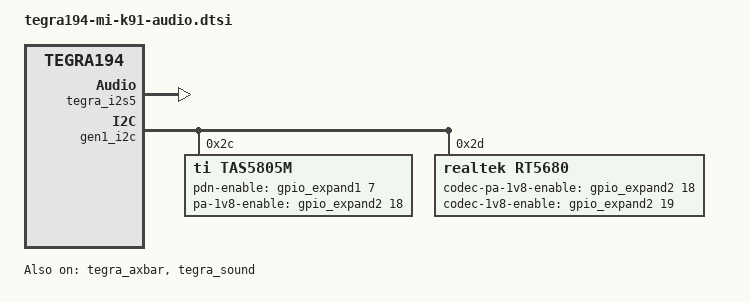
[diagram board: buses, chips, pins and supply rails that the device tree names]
/*
 *
 * Copyright (c) 2021 Beijing Xiaomi Mobile Software Co., Ltd. All rights reserved.
 *
 * This program is free software; you can redistribute it and/or modify
 * it under the terms of the GNU General Public License as published by
 * the Free Software Foundation; version 2 of the License.
 *
 * This program is distributed in the hope that it will be useful, but WITHOUT
 * ANY WARRANTY; without even the implied warranty of MERCHANTABILITY or
 * FITNESS FOR A PARTICULAR PURPOSE.  See the GNU General Public License for
 * more details.
 */

&tegra_axbar {
	status = "okay";
};
&tegra_i2s5 {
	status = "okay";
};
&tegra_sound {
	status = "okay";
	nvidia,audio-routing =
			"x Headphone",          "x OUT",
			"x IN",                 "x Mic",
			"y Headphone",          "y OUT",
			"y IN",                 "y Mic",
			"z Headphone",          "z OUT",
			"z IN",                 "z Mic",
			"m Headphone",          "m OUT",
			"m IN",                 "m Mic",
			"n Headphone",          "n OUT",
			"n IN",                 "n Mic",
			"o Headphone",          "o OUT",
			"o IN",                 "o Mic",
			"a IN",                 "a Mic",
			"b IN",                 "b Mic",
			"c IN",                 "c Mic",
			"d IN",                 "d Mic",
			"d1 Headphone",         "d1 OUT",
			"d2 Headphone",         "d2 OUT",
			"h1 DMIC L1",		"h1 Int DMIC",
			"h1 DMIC R1",		"h1 Int DMIC",
			"h1 DMIC L2",		"h1 Int DMIC",
			"h1 DMIC R2",		"h1 Int DMIC",
			"h1 DMIC L3",		"h1 Int DMIC",
			"h1 DMIC R3",		"h1 Int DMIC",
			"h1 DMIC L4",		"h1 Int DMIC",
			"h1 DMIC R4",		"h1 Int DMIC";

	nvidia,dai-link-3 {
			link-name = "rt5680-codec";
			codec-dai = <&rt5680>;
			codec-dai-name = "rt5680-aif1";
			format = "dsp_a";
			srate = <16000>;
			num-channel = <6>;
			fsync-width = <15>;
			name-prefix = "h1";
	};
	nvidia,dai-link-5 {
			link-name = "tas5805-codec";
			cpu-dai = <&tegra_i2s5>;
			codec-dai = <&tas5805m>;
			cpu-dai-name = "I2S5";
			codec-dai-name = "tas5805m-amplifier";
			format = "i2s";
			bit-format = "s16_le";
			srate = <16000>;
			num-channel = <1>;
			ignore_suspend;
			status = "okay";
	};
};

&gen1_i2c {
	tas5805m: tas5805m@2c {
		compatible = "ti,tas5805m";
		reg = <0x2c>;
		pdn-enable-gpio = <&gpio_expand1 7 GPIO_ACTIVE_HIGH>;
		pa-1v8-enable-gpio = <&gpio_expand2 18 GPIO_ACTIVE_HIGH>;
		status = "okay";
	};
	rt5680: rt5680@2d {
		compatible = "realtek,rt5680";
		reg = <0x2d>;
		codec-pa-1v8-enable-gpio = <&gpio_expand2 18 GPIO_ACTIVE_HIGH>;
		codec-1v8-enable-gpio = <&gpio_expand2 19 GPIO_ACTIVE_HIGH>;
		status = "okay";
	};
};
